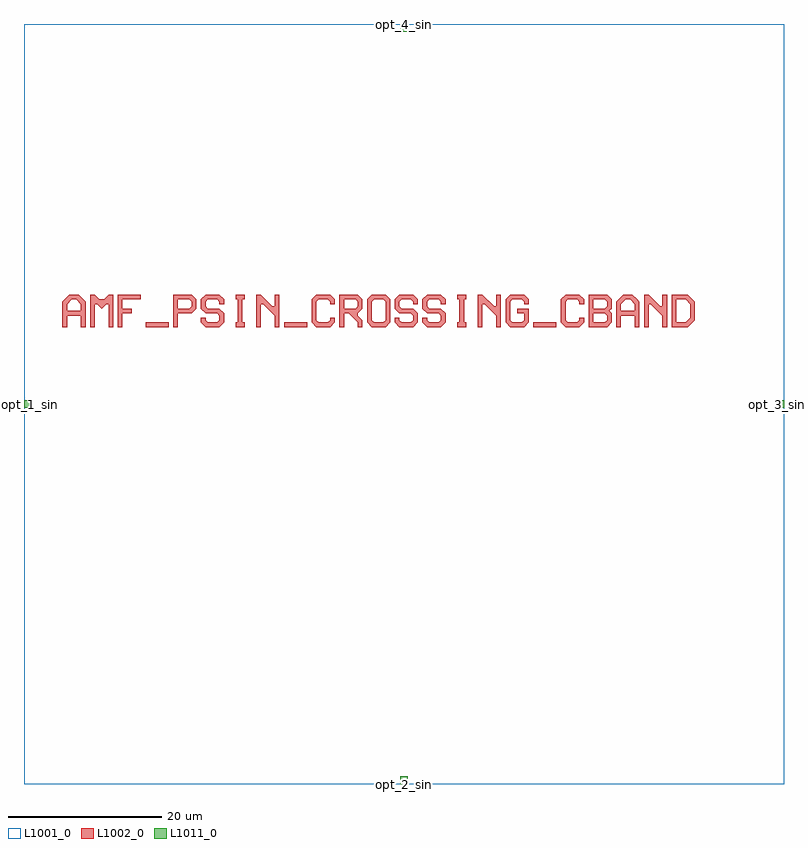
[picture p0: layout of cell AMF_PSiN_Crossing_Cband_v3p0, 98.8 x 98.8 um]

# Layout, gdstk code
import gdstk
lib = gdstk.Library(unit=1e-6, precision=1e-09)
def R(c, l, rs):  # rectangles x0, y0, x1, y1
    for r in rs: c.add(gdstk.rectangle(r[:2], r[2:], *l))
def P(c, l, *ps):  # polygons
    for p in ps: c.add(gdstk.Polygon(p, *l))
L1001_0 = (1001, 0)
L1002_0 = (1002, 0)
L1011_0 = (1011, 0)

amf_psin_crossing_cband_ = lib.new_cell('AMF_PSiN_Crossing_Cband_v3p0')
R(amf_psin_crossing_cband_, L1001_0, [(0,-49.4,98.8,49.4)])
R(amf_psin_crossing_cband_, L1002_0, [(15.8,10,18.8,10.6), (33.8,10,36.8,10.6), (66.2,10,69.2,10.6)])
P(amf_psin_crossing_cband_, L1002_0, [(5,10),(5,13.3),(5.9,14.2),(7.1,14.2),(7.7,13.6),(6.2,13.6),(5.6,13),(5.6,12.1),(7.4,12.1),(7.4,13),(6.8,13.6),(7.7,13.6),(8,13.3),(8,10),(7.4,10),(7.4,11.5),(5.6,11.5),(5.6,10)],
  [(8.6,10),(8.6,14.2),(9.2,14.2),(9.8,13.6),(10.4,13.6),(11,14.2),(11.6,14.2),(11.6,10),(11,10),(11,13),(10.7,13),(10.1,12.4),(9.5,13),(9.2,13),(9.2,10)],
  [(12.2,10),(12.2,14.2),(15.2,14.2),(15.2,13.6),(12.8,13.6),(12.8,12.4),(14,12.4),(14,11.8),(12.8,11.8),(12.8,10)],
  [(19.4,10),(19.4,14.2),(21.8,14.2),(22.4,13.6),(22.4,12.4),(21.8,11.8),(20,11.8),(20,12.4),(21.5,12.4),(21.8,12.7),(21.8,13.3),(21.5,13.6),(20,13.6),(20,10)],
  [(23.6,10),(23,10.6),(23,11.2),(23.6,11.2),(23.6,10.9),(23.9,10.6),(25.1,10.6),(25.4,10.9),(25.4,11.5),(25.1,11.8),(23.6,11.8),(23,12.4),(23,13.6),(23.6,14.2),(25.4,14.2),(26,13.6),(26,13),(25.4,13),(25.4,13.3),(25.1,13.6),(23.9,13.6),(23.6,13.3),(23.6,12.7),(23.9,12.4),(25.4,12.4),(26,11.8),(26,10.6),(25.4,10)],
  [(27.5,10),(27.5,10.6),(27.8,10.6),(27.8,13.6),(27.5,13.6),(27.5,14.2),(28.7,14.2),(28.7,13.6),(28.4,13.6),(28.4,10.6),(28.7,10.6),(28.7,10)],
  [(30.2,10),(30.2,14.2),(30.8,14.2),(32.3,12.7),(32.6,12.7),(32.6,14.2),(33.2,14.2),(33.2,10),(32.6,10),(32.6,11.5),(31.1,13),(30.8,13),(30.8,10)],
  [(38,10),(37.4,10.6),(37.4,13.6),(38,14.2),(39.8,14.2),(40.4,13.6),(40.4,13),(39.8,13),(39.8,13.3),(39.5,13.6),(38.3,13.6),(38,13.3),(38,10.9),(38.3,10.6),(39.5,10.6),(39.8,10.9),(39.8,11.2),(40.4,11.2),(40.4,10.6),(39.8,10)],
  [(41,10),(41,14.2),(43.4,14.2),(44,13.6),(41.6,13.6),(41.6,12.4),(43.1,12.4),(43.4,12.7),(43.4,13.3),(43.1,13.6),(44,13.6),(44,12.4),(43.4,11.8),(43.4,11.5),(44,10.9),(44,10),(43.4,10),(43.4,10.6),(42.2,11.8),(41.6,11.8),(41.6,10)],
  [(45.2,10),(44.6,10.6),(44.6,13.6),(45.2,14.2),(47,14.2),(47.6,13.6),(47.6,12.1),(47,12.1),(47,13.3),(46.7,13.6),(45.5,13.6),(45.2,13.3),(45.2,10.9),(45.5,10.6),(46.7,10.6),(47,10.9),(47,12.1),(47.6,12.1),(47.6,10.6),(47,10)],
  [(48.8,10),(48.2,10.6),(48.2,11.2),(48.8,11.2),(48.8,10.9),(49.1,10.6),(50.3,10.6),(50.6,10.9),(50.6,11.5),(50.3,11.8),(48.8,11.8),(48.2,12.4),(48.2,13.6),(48.8,14.2),(50.6,14.2),(51.2,13.6),(51.2,13),(50.6,13),(50.6,13.3),(50.3,13.6),(49.1,13.6),(48.8,13.3),(48.8,12.7),(49.1,12.4),(50.6,12.4),(51.2,11.8),(51.2,10.6),(50.6,10)],
  [(52.4,10),(51.8,10.6),(51.8,11.2),(52.4,11.2),(52.4,10.9),(52.7,10.6),(53.9,10.6),(54.2,10.9),(54.2,11.5),(53.9,11.8),(52.4,11.8),(51.8,12.4),(51.8,13.6),(52.4,14.2),(54.2,14.2),(54.8,13.6),(54.8,13),(54.2,13),(54.2,13.3),(53.9,13.6),(52.7,13.6),(52.4,13.3),(52.4,12.7),(52.7,12.4),(54.2,12.4),(54.8,11.8),(54.8,10.6),(54.2,10)],
  [(56.3,10),(56.3,10.6),(56.6,10.6),(56.6,13.6),(56.3,13.6),(56.3,14.2),(57.5,14.2),(57.5,13.6),(57.2,13.6),(57.2,10.6),(57.5,10.6),(57.5,10)],
  [(59,10),(59,14.2),(59.6,14.2),(61.1,12.7),(61.4,12.7),(61.4,14.2),(62,14.2),(62,10),(61.4,10),(61.4,11.5),(59.9,13),(59.6,13),(59.6,10)],
  [(63.2,10),(62.6,10.6),(62.6,13.6),(63.2,14.2),(65,14.2),(65.6,13.6),(65.6,13),(65,13),(65,13.3),(64.7,13.6),(63.5,13.6),(63.2,13.3),(63.2,10.9),(63.5,10.6),(64.7,10.6),(65,10.9),(65,11.8),(64.1,11.8),(64.1,12.4),(65.6,12.4),(65.6,10.6),(65,10)],
  [(70.4,10),(69.8,10.6),(69.8,13.6),(70.4,14.2),(72.2,14.2),(72.8,13.6),(72.8,13),(72.2,13),(72.2,13.3),(71.9,13.6),(70.7,13.6),(70.4,13.3),(70.4,10.9),(70.7,10.6),(71.9,10.6),(72.2,10.9),(72.2,11.2),(72.8,11.2),(72.8,10.6),(72.2,10)],
  [(73.4,10),(73.4,14.2),(75.8,14.2),(76.4,13.6),(74,13.6),(74,12.4),(75.5,12.4),(75.8,12.7),(75.8,13.3),(75.5,13.6),(76.4,13.6),(76.4,12.4),(76.1,12.1),(76.4,11.8),(74,11.8),(74,10.6),(75.5,10.6),(75.8,10.9),(75.8,11.5),(75.5,11.8),(76.4,11.8),(76.4,10.6),(75.8,10)],
  [(77,10),(77,13.3),(77.9,14.2),(79.1,14.2),(79.7,13.6),(78.2,13.6),(77.6,13),(77.6,12.1),(79.4,12.1),(79.4,13),(78.8,13.6),(79.7,13.6),(80,13.3),(80,10),(79.4,10),(79.4,11.5),(77.6,11.5),(77.6,10)],
  [(80.6,10),(80.6,14.2),(81.2,14.2),(82.7,12.7),(83,12.7),(83,14.2),(83.6,14.2),(83.6,10),(83,10),(83,11.5),(81.5,13),(81.2,13),(81.2,10)],
  [(84.2,10),(84.2,14.2),(86.3,14.2),(86.9,13.6),(84.8,13.6),(84.8,10.6),(86,10.6),(86.6,11.2),(86.6,13),(86,13.6),(86.9,13.6),(87.2,13.3),(87.2,10.9),(86.3,10)])
R(amf_psin_crossing_cband_, L1011_0, [(48.9,-49.4,49.9,-48.4), (0,-0.5,1,0.5), (97.8,-0.5,98.8,0.5), (48.9,48.4,49.9,49.4)])
amf_psin_crossing_cband_.add(gdstk.Label('opt_3_sin', (98.8,0), layer=1011, texttype=0))
amf_psin_crossing_cband_.add(gdstk.Label('opt_4_sin', (49.4,49.4), layer=1011, texttype=0))
amf_psin_crossing_cband_.add(gdstk.Label('opt_2_sin', (49.4,-49.4), layer=1011, texttype=0))
amf_psin_crossing_cband_.add(gdstk.Label('opt_1_sin', (0,0), layer=1011, texttype=0))

lib.write_gds('AMF_PSiN_Crossing_Cband_v3p0.gds')
